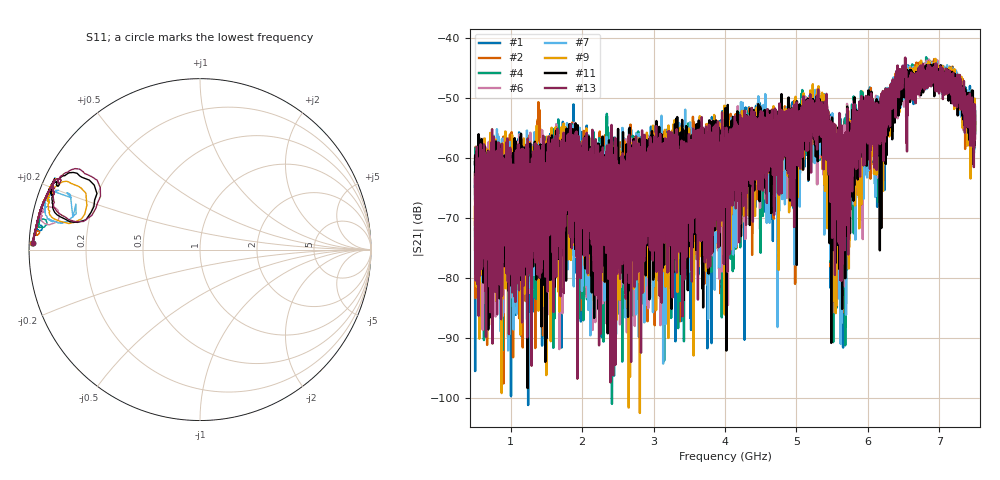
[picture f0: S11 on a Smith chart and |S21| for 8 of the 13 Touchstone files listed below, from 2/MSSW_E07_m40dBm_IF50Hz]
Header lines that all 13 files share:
!Keysight Technologies,M9374A,MY55442783,A.12.55.05
!Correction: S11(Full 2 Port(1,2))
!S21(Full 2 Port(1,2))
!S12(Full 2 Port(1,2))
!S22(Full 2 Port(1,2))
!S2P File: Measurements: S11, S21, S12, S22:
# Hz S  RI  R 50
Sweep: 500 MHz to 7.5 GHz
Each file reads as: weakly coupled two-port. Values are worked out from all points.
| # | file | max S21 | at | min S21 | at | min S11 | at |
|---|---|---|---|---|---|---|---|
| 1 | MSSW_E07_i0.5.s2p | -43.39 dB | 6.822 GHz | -101.2 dB | 1.244 GHz | -0.6 dB | 1.871 GHz |
| 2 | MSSW_E07_i0.s2p | -43.55 dB | 6.928 GHz | -97.6 dB | 901 MHz | -0.5 dB | 6.955 GHz |
| 3 | MSSW_E07_i1.5.s2p | -43.97 dB | 6.824 GHz | -108.5 dB | 2.94 GHz | -1.1 dB | 2.79 GHz |
| 4 | MSSW_E07_i1.s2p | -43.25 dB | 6.816 GHz | -101.0 dB | 2.417 GHz | -0.9 dB | 2.335 GHz |
| 5 | MSSW_E07_i2.5.s2p | -43.20 dB | 6.807 GHz | -96.3 dB | 770 MHz | -1.8 dB | 3.702 GHz |
| 6 | MSSW_E07_i2.s2p | -43.62 dB | 6.857 GHz | -91.9 dB | 1.681 GHz | -1.5 dB | 3.249 GHz |
| 7 | MSSW_E07_i3.5.s2p | -43.89 dB | 6.956 GHz | -94.3 dB | 3.134 GHz | -2.4 dB | 4.574 GHz |
| 8 | MSSW_E07_i3.s2p | -43.81 dB | 6.921 GHz | -105.1 dB | 2.854 GHz | -2.1 dB | 4.141 GHz |
| 9 | MSSW_E07_i4.5.s2p | -43.52 dB | 6.947 GHz | -102.5 dB | 2.808 GHz | -3.0 dB | 5.392 GHz |
| 10 | MSSW_E07_i4.s2p | -43.78 dB | 6.913 GHz | -100.4 dB | 1.06 GHz | -2.8 dB | 4.994 GHz |
| 11 | MSSW_E07_i5.5.s2p | -44.41 dB | 6.922 GHz | -98.4 dB | 1.237 GHz | -3.5 dB | 6.166 GHz |
| 12 | MSSW_E07_i5.s2p | -44.02 dB | 6.748 GHz | -103.5 dB | 963 MHz | -3.3 dB | 5.783 GHz |
| 13 | MSSW_E07_i6.s2p | -43.32 dB | 6.521 GHz | -97.4 dB | 2.395 GHz | -3.7 dB | 6.537 GHz |
